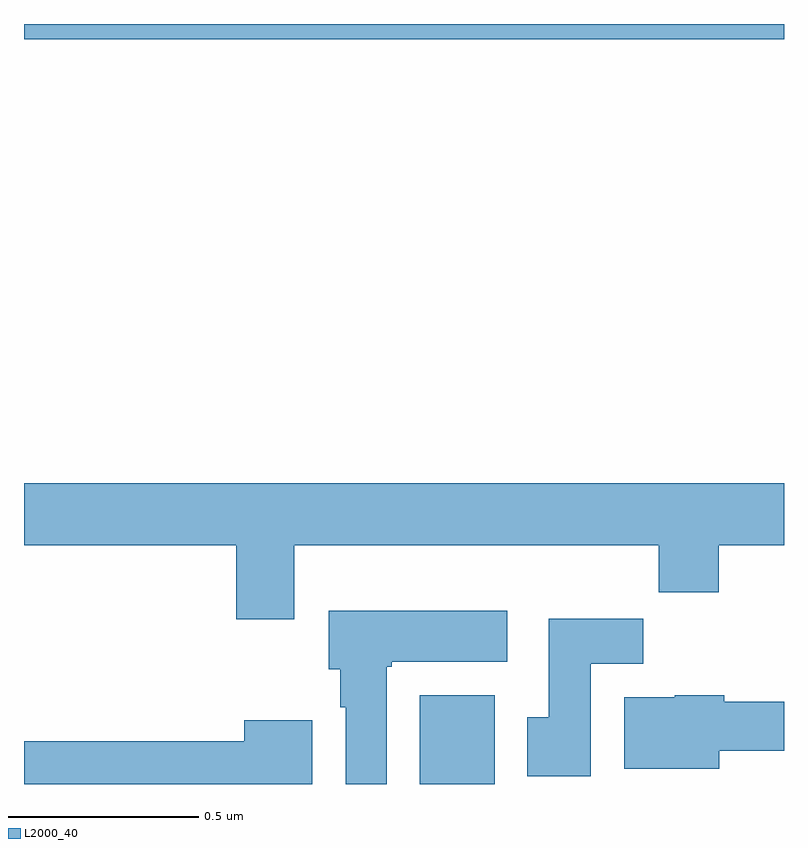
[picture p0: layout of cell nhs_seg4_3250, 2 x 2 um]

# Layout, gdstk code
import gdstk
lib = gdstk.Library(unit=1e-6, precision=1e-09)
def R(c, l, rs):  # rectangles x0, y0, x1, y1
    for r in rs: c.add(gdstk.rectangle(r[:2], r[2:], *l))
def P(c, l, *ps):  # polygons
    for p in ps: c.add(gdstk.Polygon(p, *l))
L2000_40 = (2000, 40)

nhs_seg4_3250 = lib.new_cell('nhs_seg4_3250')
R(nhs_seg4_3250, L2000_40, [(152.042,754.9,152.239,755.134), (151,756.86,153,756.9)])
P(nhs_seg4_3250, L2000_40, [(151.711,755.528),(152.671,755.528),(152.671,755.404),(152.828,755.404),(152.828,755.528),(153,755.528),(153,755.692),(151,755.692),(151,755.528),(151.559,755.528),(151.559,755.334),(151.711,755.334)],
  [(151.954,755.209),(151.968,755.209),(151.968,755.222),(152.272,755.222),(152.272,755.356),(151.802,755.356),(151.802,755.202),(151.832,755.202),(151.832,755.102),(151.847,755.102),(151.847,754.9),(151.954,754.9)],
  [(152.491,755.216),(152.63,755.216),(152.63,755.335),(152.381,755.335),(152.381,755.076),(152.324,755.076),(152.324,754.92),(152.491,754.92)],
  [(152.83,754.987),(153,754.987),(153,755.116),(152.843,755.116),(152.843,755.134),(152.712,755.134),(152.712,755.128),(152.579,755.128),(152.579,754.94),(152.83,754.94)],
  [(151.759,755.068),(151.58,755.068),(151.58,755.012),(151,755.012),(151,754.9),(151.759,754.9)])

lib.write_gds('nhs_seg4_3250.gds')
